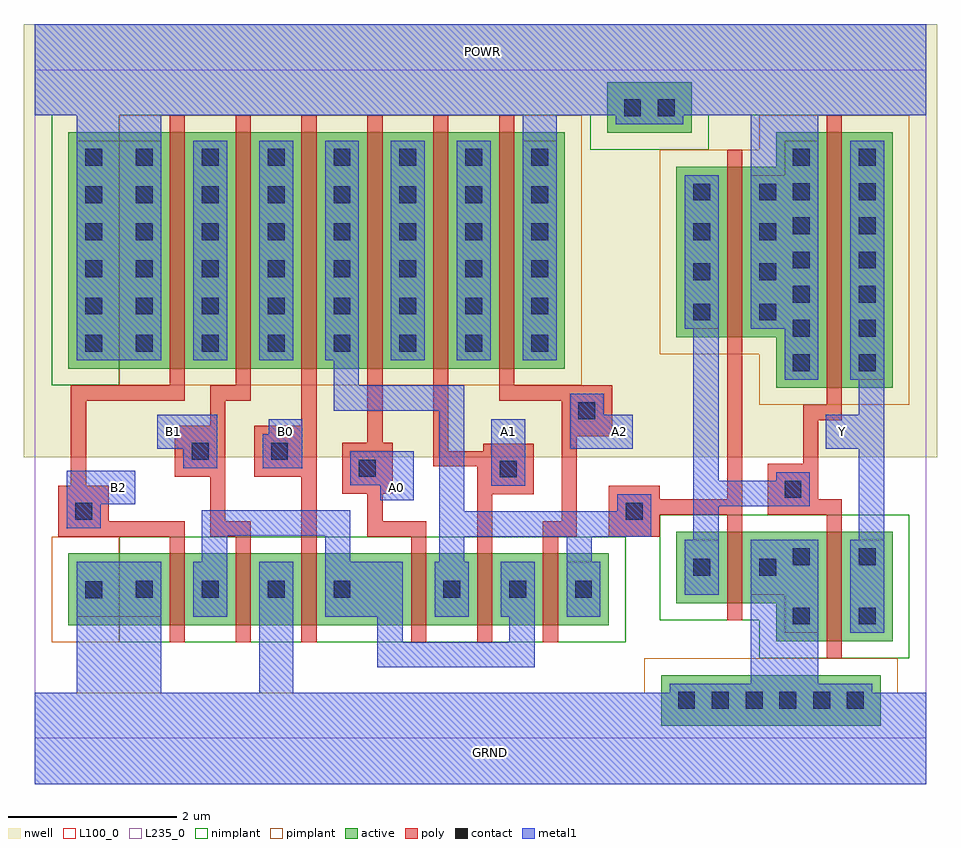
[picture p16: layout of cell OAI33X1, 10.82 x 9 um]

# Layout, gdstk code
import gdstk
lib = gdstk.Library(unit=1e-6, precision=1e-09)
def R(c, l, rs):  # rectangles x0, y0, x1, y1
    for r in rs: c.add(gdstk.rectangle(r[:2], r[2:], *l))
def A(c, l, x, y, w, h, nx, ny, dx, dy):  # array of equal rectangles
    R(c, l, [(x+i*dx, y+j*dy, x+i*dx+w, y+j*dy+h) for i in range(nx) for j in range(ny)])
def P(c, l, *ps):  # polygons
    for p in ps: c.add(gdstk.Polygon(p, *l))
active = (1, 0)
nwell = (2, 0)
poly = (3, 0)
nimplant = (4, 0)
pimplant = (5, 0)
contact = (6, 0)
metal1 = (7, 0)
L100_0 = (100, 0)
L235_0 = (235, 0)

oai33x1 = lib.new_cell('OAI33X1')
A(oai33x1, active, 1.6, 1.34, 0.18, 0.85, 3, 1, 0.78, 0)
A(oai33x1, active, 4.46, 1.34, 0.18, 0.85, 3, 1, 0.78, 0)
A(oai33x1, active, 1.6, 4.38, 0.18, 2.8, 6, 1, 0.78, 0)
A(oai33x1, active, 1.78, 4.38, 0.6, 2.8, 6, 1, 0.78, 0)
R(oai33x1, active, [(7.42,0.15,10.02,0.75), (0.4,1.34,1.6,2.19), (1.78,1.34,2.38,2.19), (2.56,1.34,3.16,2.19), (3.34,1.34,4.64,2.19), (4.64,1.34,5.24,2.19), (5.42,1.34,6.8,2.19), (5.42,1.34,6.02,2.19), (7.6,1.6,8.2,2.45), (8.2,1.6,8.38,2.45), (9.38,4.15,9.56,7.18), (9.56,4.15,10.16,7.18), (0.4,4.38,1.6,7.18), (7.6,4.75,8.2,6.77), (8.2,4.75,8.38,6.77), (6.78,7.17,7.78,7.77)])
P(oai33x1, active, [(10.16,2.45),(7.6,2.45),(7.6,1.6),(8.78,1.6),(8.78,1.15),(10.16,1.15)],
  [(9.38,7.18),(8.78,7.18),(8.78,6.77),(8.38,6.77),(8.38,4.75),(8.78,4.75),(8.78,4.15),(9.38,4.15)])
R(oai33x1, nwell, [(-0.13,3.33,10.69,8.46)])
A(oai33x1, poly, 1.6, 1.14, 0.18, 0.2, 3, 2, 0.78, 1.05)
A(oai33x1, poly, 1.6, 1.14, 0.18, 1.25, 3, 1, 0.78, 0)
A(oai33x1, poly, 4.46, 1.14, 0.18, 0.2, 3, 2, 0.78, 1.05)
A(oai33x1, poly, 4.46, 1.14, 0.18, 1.25, 3, 1, 0.78, 0)
A(oai33x1, poly, 1.6, 4.18, 0.18, 0.2, 6, 2, 0.78, 3)
A(oai33x1, poly, 1.6, 4.18, 0.18, 3.2, 6, 1, 0.78, 0)
R(oai33x1, poly, [(9.38,0.95,9.56,1.14), (8.2,1.4,8.38,1.6), (8.68,2.65,9.28,3.25), (1.66,3.1,2.26,3.7), (9.38,3.95,9.56,7.38), (8.2,4.55,8.38,6.97), (8.2,4.55,8.38,4.75), (8.2,6.77,8.38,6.97), (9.38,7.18,9.56,7.38)])
P(oai33x1, poly, [(1.78,2.57),(0.88,2.57),(0.88,2.99),(0.61,2.99),(0.61,4),(1.78,4),(1.78,4.18),(0.43,4.18),(0.43,2.99),(0.28,2.99),(0.28,2.39),(1.78,2.39)],
  [(4.64,2.57),(4.12,2.57),(4.12,2.9),(4.24,2.9),(4.24,3.5),(4.12,3.5),(4.12,4.2),(3.94,4.2),(3.94,3.5),(3.64,3.5),(3.64,2.9),(3.94,2.9),(3.94,2.39),(4.64,2.39)],
  [(5.91,3.49),(5.31,3.49),(5.31,3.4),(4.9,3.4),(4.9,4.18),(4.72,4.18),(4.72,3.22),(5.24,3.22),(5.24,2.38),(5.42,2.38),(5.42,2.89),(5.91,2.89)],
  [(6.84,4.18),(5.5,4.18),(5.5,4),(6.24,4),(6.24,2.57),(6.02,2.57),(6.02,2.39),(6.42,2.39),(6.42,3.58),(6.84,3.58)],
  [(3.34,4.21),(3.16,4.21),(3.16,3.7),(2.6,3.7),(2.6,3.1),(3.16,3.1),(3.16,2.29),(3.34,2.29)],
  [(8.38,4.55),(8.2,4.55),(8.2,2.83),(7.4,2.83),(7.4,2.99),(6.8,2.99),(6.8,2.39),(7.4,2.39),(7.4,2.65),(8.2,2.65),(8.2,1.47),(8.38,1.47)])
R(oai33x1, nimplant, [(1,1.14,7,2.39)])
P(oai33x1, nimplant, [(10.36,2.65),(7.4,2.65),(7.4,1.4),(8.58,1.4),(8.58,0.95),(10.36,0.95)],
  [(10.56,8.46),(0,8.46),(0,7.38),(0.2,7.38),(0.2,4.18),(1,4.18),(1,7.38),(6.58,7.38),(6.58,6.97),(7.98,6.97),(7.98,7.38),(10.56,7.38)])
R(oai33x1, pimplant, [(0.2,1.14,1,2.39), (1,4.18,6.48,7.38)])
P(oai33x1, pimplant, [(10.56,0.54),(10.22,0.54),(10.22,0.95),(7.22,0.95),(7.22,0.54),(0,0.54),(0,-0.54),(10.56,-0.54)],
  [(10.36,7.38),(8.58,7.38),(8.58,6.97),(7.4,6.97),(7.4,4.55),(8.58,4.55),(8.58,3.95),(10.36,3.95)])
A(oai33x1, contact, 7.62, 0.35, 0.2, 0.2, 6, 1, 0.4, 0)
A(oai33x1, contact, 1.2, 1.665, 0.2, 0.2, 4, 1, 0.78, 0)
A(oai33x1, contact, 4.84, 1.665, 0.2, 0.2, 3, 1, 0.78, 0)
A(oai33x1, contact, 8.98, 4.35, 0.2, 0.2, 1, 7, 0, 0.405)
A(oai33x1, contact, 9.76, 4.35, 0.2, 0.2, 1, 7, 0, 0.405)
A(oai33x1, contact, 0.6, 4.58, 0.2, 0.2, 1, 6, 0, 0.44)
A(oai33x1, contact, 1.2, 4.58, 0.2, 0.2, 7, 6, 0.78, 0.44)
A(oai33x1, contact, 7.8, 4.95, 0.2, 0.2, 1, 3, 0, 0.475)
A(oai33x1, contact, 8.58, 4.95, 0.2, 0.2, 1, 3, 0, 0.475)
R(oai33x1, contact, [(8.98,1.35,9.18,1.55), (9.76,1.35,9.96,1.55), (0.6,1.66,0.8,1.86), (7.8,1.925,8,2.125), (8.58,1.925,8.78,2.125), (8.98,2.05,9.18,2.25), (9.76,2.05,9.96,2.25), (0.48,2.59,0.68,2.79), (7,2.59,7.2,2.79), (8.88,2.85,9.08,3.05), (5.51,3.09,5.71,3.29), (3.84,3.1,4.04,3.3), (1.86,3.3,2.06,3.5), (2.8,3.3,3,3.5), (6.44,3.78,6.64,3.98), (7.8,6.37,8,6.57), (8.58,6.37,8.78,6.57), (6.98,7.37,7.18,7.57), (7.38,7.37,7.58,7.57)])
R(oai33x1, metal1, [(0,-0.54,10.56,0.54), (0.5,0.54,1.5,1.44), (2.66,0.54,3.06,1.44), (0.5,1.44,1.1,2.09), (3.84,1.44,4.36,2.09), (9.76,2.35,10.06,4.25), (8.78,2.75,9.18,3.15), (0.84,2.82,1.14,3.12), (4.14,2.82,4.44,3.12), (5.41,2.99,5.81,3.78), (1.76,3.2,2.16,3.6), (1.45,3.43,2.16,3.83), (9.37,3.43,9.85,3.83), (1.5,3.48,1.8,3.78), (2.82,3.48,3.12,3.78), (5.46,3.48,5.76,3.78), (6.78,3.48,7.08,3.78), (9.42,3.48,9.72,3.78), (0.5,4.48,1.1,7.08), (0.5,7.08,1.5,7.38), (6.88,7.27,7.68,7.67), (0,7.38,10.56,8.46)])
P(oai33x1, metal1, [(0.78,2.77),(1.19,2.77),(1.19,3.17),(0.38,3.17),(0.38,2.49),(0.78,2.49)],
  [(3.17,3.78),(2.77,3.78),(2.77,3.6),(2.7,3.6),(2.7,3.2),(3.17,3.2)],
  [(9.92,0.65),(9.28,0.65),(9.28,2.35),(8.48,2.35),(8.48,0.65),(7.52,0.65),(7.52,0.25),(9.92,0.25)],
  [(9.28,7.38),(8.48,7.38),(8.48,4.85),(8.88,4.85),(8.88,4.25),(9.28,4.25)],
  [(4.49,3.4),(3.74,3.4),(3.74,3),(4.09,3),(4.09,2.82),(4.49,2.82)],
  [(7.3,2.89),(6.9,2.89),(6.9,2.69),(5.09,2.69),(5.09,4.18),(3.84,4.18),(3.84,4.48),(3.54,4.48),(3.54,3.88),(4.79,3.88),(4.79,2.09),(5.09,2.09),(5.09,2.39),(6.3,2.39),(6.3,2.09),(6.6,2.09),(6.6,2.39),(7.3,2.39)],
  [(7.08,3.83),(6.74,3.83),(6.74,4.08),(6.34,4.08),(6.34,3.43),(7.08,3.43)])
R(oai33x1, L100_0, [(8.88,1.25,9.28,2.35), (9.66,1.25,10.06,2.35), (0.5,1.44,1.5,2.09), (6.3,1.44,6.7,2.09), (7.7,1.7,8.1,2.35), (8.48,1.7,8.88,2.35), (8.88,4.25,9.28,7.08), (9.66,4.25,10.06,7.08), (0.5,4.48,1.5,7.08), (5.78,4.48,6.18,7.08), (7.7,4.85,8.1,6.67), (8.48,4.85,8.88,6.67)])
R(oai33x1, L235_0, [(0,0,10.56,7.92)])
oai33x1.add(gdstk.FlexPath([(2.08,4.09),(2.56,4.09)], 0.18, ends="flush", simple_path=True, layer=3, datatype=0))  # poly
oai33x1.add(gdstk.FlexPath([(2.56,2.48),(2.08,2.48)], 0.18, ends="flush", simple_path=True, layer=3, datatype=0))  # poly
oai33x1.add(gdstk.FlexPath([(2.17,4),(2.17,2.57)], 0.18, ends="flush", simple_path=True, layer=3, datatype=0))  # poly
oai33x1.add(gdstk.FlexPath([(9.19,3.23),(9.19,3.95)], 0.18, ends="flush", simple_path=True, layer=3, datatype=0))  # poly
oai33x1.add(gdstk.FlexPath([(9.26,3.86),(9.56,3.86)], 0.18, ends="flush", simple_path=True, layer=3, datatype=0))  # poly
oai33x1.add(gdstk.FlexPath([(9.47,1.11),(9.47,2.83)], 0.18, ends="flush", simple_path=True, layer=3, datatype=0))  # poly
oai33x1.add(gdstk.FlexPath([(9.21,2.74),(9.43,2.74)], 0.18, ends="flush", simple_path=True, layer=3, datatype=0))  # poly
oai33x1.add(gdstk.FlexPath([(5.98,7.08),(5.98,7.38)], 0.4, ends="flush", simple_path=True, layer=7, datatype=0))  # metal1
oai33x1.add(gdstk.FlexPath([(7.95,4.85),(7.95,2.35)], 0.3, ends="flush", simple_path=True, layer=7, datatype=0))  # metal1
oai33x1.add(gdstk.FlexPath([(7.9,4.85),(7.9,6.67)], 0.4, ends="flush", simple_path=True, layer=7, datatype=0))  # metal1
oai33x1.add(gdstk.FlexPath([(5.98,4.48),(5.98,7.08)], 0.4, ends="flush", simple_path=True, layer=7, datatype=0))  # metal1
oai33x1.add(gdstk.FlexPath([(5.2,4.48),(5.2,7.08)], 0.4, ends="flush", simple_path=True, layer=7, datatype=0))  # metal1
oai33x1.add(gdstk.FlexPath([(4.42,4.48),(4.42,7.08)], 0.4, ends="flush", simple_path=True, layer=7, datatype=0))  # metal1
oai33x1.add(gdstk.FlexPath([(3.64,4.48),(3.64,7.08)], 0.4, ends="flush", simple_path=True, layer=7, datatype=0))  # metal1
oai33x1.add(gdstk.FlexPath([(2.86,4.48),(2.86,7.08)], 0.4, ends="flush", simple_path=True, layer=7, datatype=0))  # metal1
oai33x1.add(gdstk.FlexPath([(2.08,4.48),(2.08,7.08)], 0.4, ends="flush", simple_path=True, layer=7, datatype=0))  # metal1
oai33x1.add(gdstk.FlexPath([(1.3,4.48),(1.3,7.08)], 0.4, ends="flush", simple_path=True, layer=7, datatype=0))  # metal1
oai33x1.add(gdstk.FlexPath([(8.09,2.9),(8.83,2.9)], 0.3, ends="flush", simple_path=True, layer=7, datatype=0))  # metal1
oai33x1.add(gdstk.FlexPath([(6.5,1.44),(6.5,2.09)], 0.4, ends="flush", simple_path=True, layer=7, datatype=0))  # metal1
oai33x1.add(gdstk.FlexPath([(5.72,1.44),(5.72,2.09)], 0.4, ends="flush", simple_path=True, layer=7, datatype=0))  # metal1
oai33x1.add(gdstk.FlexPath([(4.94,1.44),(4.94,2.09)], 0.4, ends="flush", simple_path=True, layer=7, datatype=0))  # metal1
oai33x1.add(gdstk.FlexPath([(3.64,1.44),(3.64,2.09)], 0.4, ends="flush", simple_path=True, layer=7, datatype=0))  # metal1
oai33x1.add(gdstk.FlexPath([(2.86,1.44),(2.86,2.09)], 0.4, ends="flush", simple_path=True, layer=7, datatype=0))  # metal1
oai33x1.add(gdstk.FlexPath([(2.08,1.44),(2.08,2.09)], 0.4, ends="flush", simple_path=True, layer=7, datatype=0))  # metal1
oai33x1.add(gdstk.FlexPath([(1.3,1.44),(1.3,2.09)], 0.4, ends="flush", simple_path=True, layer=7, datatype=0))  # metal1
oai33x1.add(gdstk.FlexPath([(2.13,2.09),(2.13,2.55),(3.59,2.55),(3.59,2.09)], 0.3, ends="flush", simple_path=True, layer=7, datatype=0))  # metal1
oai33x1.add(gdstk.FlexPath([(7.9,1.7),(7.9,2.35)], 0.4, ends="flush", simple_path=True, layer=7, datatype=0))  # metal1
oai33x1.add(gdstk.FlexPath([(5.77,1.44),(5.77,0.99),(4.21,0.99),(4.21,1.44)], 0.3, ends="flush", simple_path=True, layer=7, datatype=0))  # metal1
oai33x1.add(gdstk.FlexPath([(9.86,4.25),(9.86,7.08)], 0.4, ends="flush", simple_path=True, layer=7, datatype=0))  # metal1
oai33x1.add(gdstk.FlexPath([(9.86,1.25),(9.86,2.35)], 0.4, ends="flush", simple_path=True, layer=7, datatype=0))  # metal1
oai33x1.add(gdstk.Label('A2', (6.93,3.63), layer=230, texttype=0))
oai33x1.add(gdstk.Label('A1', (5.61,3.63), layer=230, texttype=0))
oai33x1.add(gdstk.Label('A0', (4.29,2.97), layer=230, texttype=0))
oai33x1.add(gdstk.Label('B0', (2.97,3.63), layer=230, texttype=0))
oai33x1.add(gdstk.Label('B1', (1.65,3.63), layer=230, texttype=0))
oai33x1.add(gdstk.Label('B2', (0.99,2.97), layer=230, texttype=0))
oai33x1.add(gdstk.Label('POWR', (5.3,8.13), layer=230, texttype=0))
oai33x1.add(gdstk.Label('Y', (9.57,3.63), layer=230, texttype=0))
oai33x1.add(gdstk.Label('GRND', (5.4,-0.17), layer=230, texttype=0))

lib.write_gds('OAI33X1.gds')
